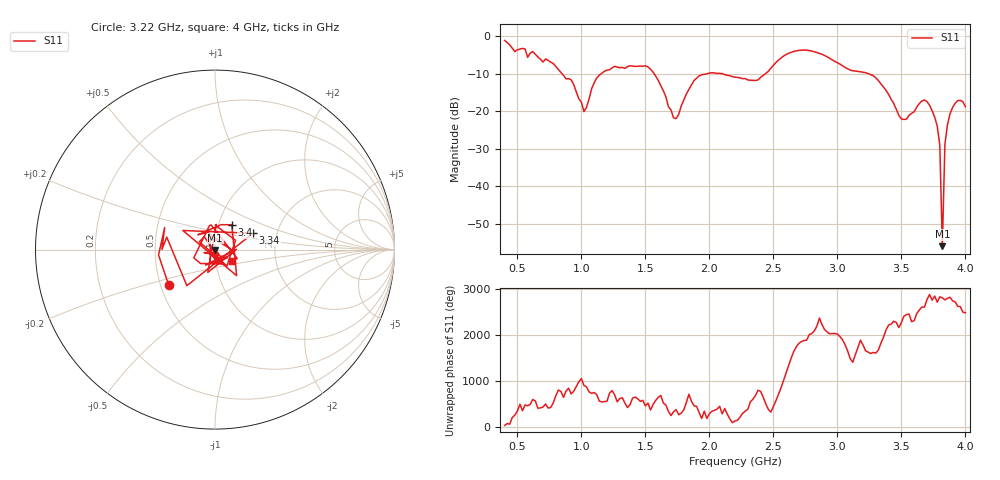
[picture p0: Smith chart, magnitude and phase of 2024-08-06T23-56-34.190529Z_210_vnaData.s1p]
!Created with skrf (http://scikit-rf.org).
# Hz S RI R 50.0
!freq ReS11 ImS11
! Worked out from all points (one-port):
!   181 points, 400 MHz to 4 GHz, reference 50 ohm
!   lowest |S11| = -56.0 dB at 3.82 GHz (marker M1), VSWR 1.00, Z = 50.1 - j0.149 ohm
!   |S11| at or under -10 dB: 1.567 GHz to 1.989 GHz (421.6 MHz wide, 23.7 % of centre); 2.089 GHz to 2.44 GHz (351.1 MHz wide, 15.5 % of centre); 3.239 GHz to end of sweep (the widest 3 of 4)
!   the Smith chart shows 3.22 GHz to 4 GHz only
!   S11 on the Smith chart (normalised r, x): 3.22 GHz: 0.55, -0.24; 3.34 GHz: 1.50, +0.29; 3.4 GHz: 1.16, +0.33; 4 GHz: 1.19, -0.16
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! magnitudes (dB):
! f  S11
! 400 MHz  -1.2
! 860 MHz  -10.5
! 920 MHz  -11.7
! 1.02 GHz  -20.2
! 1.12 GHz  -11.2
! 1.3 GHz  -8.4
! 1.52 GHz  -8.2
! 1.6 GHz  -11.8
! 1.72 GHz  -21.8
! 1.76 GHz  -20.9
! 1.92 GHz  -10.6
! 2.2 GHz  -11.0
! 2.38 GHz  -11.7
! 2.66 GHz  -4.1
! 3.1 GHz  -9.1
! 3.22 GHz  -9.8
! 3.34 GHz  -12.8
! 3.4 GHz  -15.6
! 3.5 GHz  -22.1
! 3.56 GHz  -21.2
! 3.68 GHz  -17.1
! 3.78 GHz  -24.0
! 3.8 GHz  -29.1
! 3.82 GHz  -56.0
! 3.84 GHz  -28.8
! 3.86 GHz  -23.6
! 3.94 GHz  -17.2
! 4 GHz  -18.8
